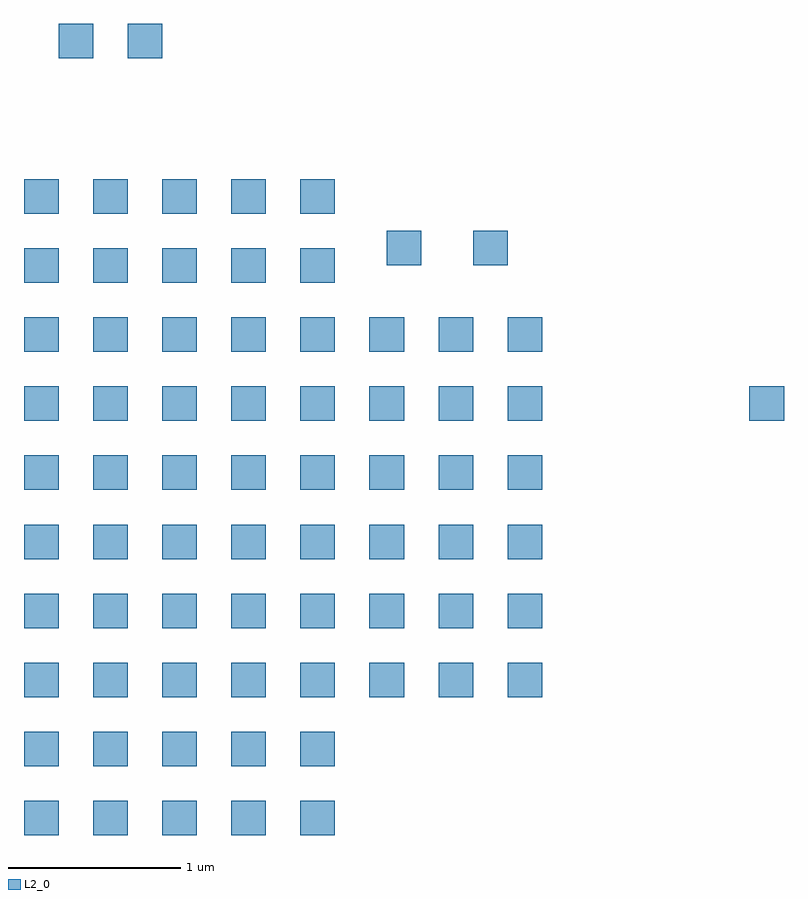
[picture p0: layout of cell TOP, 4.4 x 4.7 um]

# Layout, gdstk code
from math import pi, radians
import gdstk
lib = gdstk.Library(unit=1e-6, precision=1e-09)
def R(c, l, rs):  # rectangles x0, y0, x1, y1
    for r in rs: c.add(gdstk.rectangle(r[:2], r[2:], *l))
L2_0 = (2, 0)

via = lib.new_cell('VIA')
R(via, L2_0, [(-0.1,-0.1,0.1,0.1)])

top = lib.new_cell('TOP')
r = gdstk.Reference(via, (4.7,2.9), rotation=pi/2); r.repetition = gdstk.Repetition(1, 1, v1=(0,0), v2=(0,0)); top.add(r)
r = gdstk.Reference(via, (1.1,5), rotation=pi/2); r.repetition = gdstk.Repetition(1, 2, v1=(0,0), v2=(-0.4,0)); top.add(r)
r = gdstk.Reference(via, (2.1,0.5), rotation=pi/2); r.repetition = gdstk.Repetition(10, 5, v1=(0,0.4), v2=(-0.4,0)); top.add(r)
r = gdstk.Reference(via, (3.3,1.3), rotation=pi/2); r.repetition = gdstk.Repetition(6, 3, v1=(0,0.4), v2=(-0.4,0)); top.add(r)
r = gdstk.Reference(via, (2.6,3.8), rotation=pi/2); r.repetition = gdstk.Repetition(1, 1, v1=(0,0), v2=(0,0)); top.add(r)
r = gdstk.Reference(via, (3.1,3.8), rotation=pi/2); r.repetition = gdstk.Repetition(1, 1, v1=(0,0), v2=(0,0)); top.add(r)

lib.write_gds('TOP.gds')
